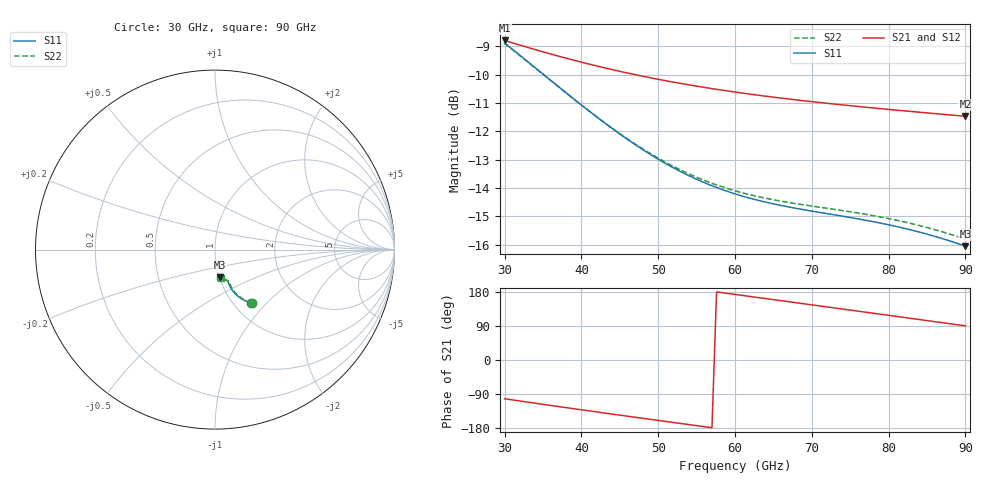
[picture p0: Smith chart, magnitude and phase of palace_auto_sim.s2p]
#  GHZ S DB R 50
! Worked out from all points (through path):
!   101 points, 30 GHz to 90 GHz, reference 50 ohm
!   highest |S21| = -8.80 dB at 30 GHz (marker M1); lowest = -11.5 dB at 90 GHz (marker M2)
!   group delay of S21, straight-line fit = 7.71 ps
!   lowest |S11| = -16.1 dB at 90 GHz (marker M3), VSWR 1.37, Z = 50.5 - j16 ohm
!   |S11| at or under -10 dB: 35.08 GHz to end of sweep
!   |S22| runs from -15.8 to -8.9 dB; largest |S21 - S12| = 3.8e-14
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30  -8.89 -55.9  -8.80 -102.2  -8.80 -102.2  -8.90 -55.4
33  -9.54 -59.2  -9.04 -111.1  -9.04 -111.1  -9.55 -58.6
35.4  -10.07 -61.4  -9.23 -118.2  -9.23 -118.2  -10.08 -60.8
37.8  -10.60 -63.3  -9.41 -125.1  -9.41 -125.1  -10.61 -62.6
40.2  -11.12 -64.8  -9.58 -132.0  -9.58 -132.0  -11.12 -64.0
42.6  -11.62 -66.0  -9.74 -138.8  -9.74 -138.8  -11.62 -65.1
45  -12.10 -66.8  -9.89 -145.5  -9.89 -145.5  -12.09 -65.9
47.4  -12.55 -67.4  -10.03 -152.2  -10.03 -152.2  -12.52 -66.4
50.4  -13.05 -67.8  -10.19 -160.5  -10.19 -160.5  -13.01 -66.7
52.8  -13.41 -67.9  -10.31 -167.2  -10.31 -167.2  -13.35 -66.8
55.2  -13.72 -68.0  -10.42 -173.8  -10.42 -173.8  -13.65 -66.7
57.6  -13.99 -68.0  -10.52 179.6  -10.52 179.6  -13.90 -66.7
60  -14.21 -68.0  -10.62 173.0  -10.62 173.0  -14.10 -66.7
64.8  -14.55 -68.3  -10.79 159.8  -10.79 159.8  -14.41 -67.1
67.2  -14.68 -68.7  -10.87 153.2  -10.87 153.2  -14.52 -67.5
70.2  -14.83 -69.4  -10.96 145.0  -10.96 145.0  -14.65 -68.3
75.6  -15.07 -71.3  -11.12 130.1  -11.12 130.1  -14.87 -70.4
80.4  -15.33 -73.7  -11.24 116.8  -11.24 116.8  -15.11 -72.9
82.8  -15.48 -75.0  -11.30 110.1  -11.30 110.1  -15.25 -74.3
85.2  -15.65 -76.4  -11.36 103.5  -11.36 103.5  -15.41 -75.7
87.6  -15.84 -77.8  -11.42 96.8  -11.42 96.8  -15.60 -77.2
90  -16.06 -79.2  -11.47 90.1  -11.47 90.1  -15.81 -78.7
